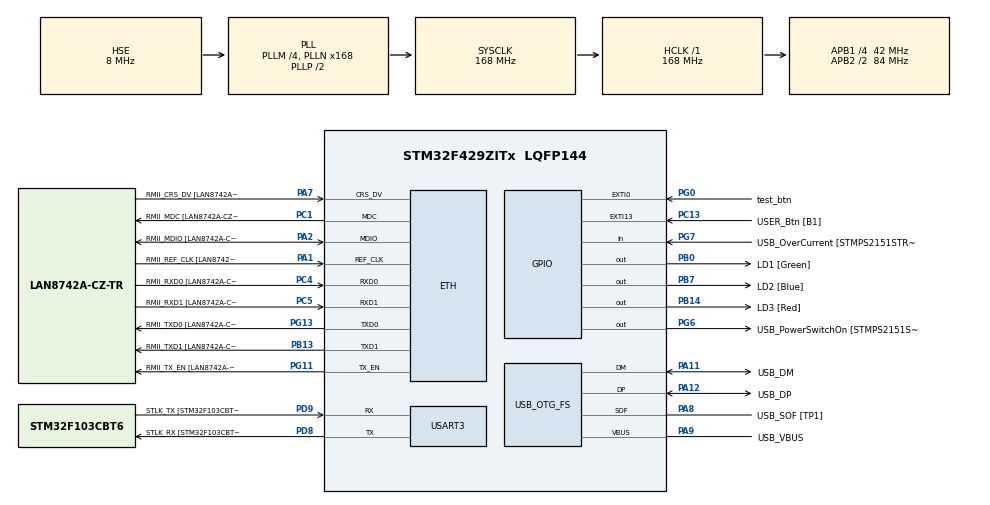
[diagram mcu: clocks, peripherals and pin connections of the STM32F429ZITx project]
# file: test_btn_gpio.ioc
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ETH.MediaInterface=HAL_ETH_RMII_MODE
ETH.PHY_Name=LAN8742A_PHY_ADDRESS
ETH.PHY_Value=0
ETH.PhyAddress=0
Mcu.Family=STM32F4
Mcu.Name=STM32F429ZITx
Mcu.Package=LQFP144
NVIC.EXTI0_IRQn=true\:0\:0\:false\:true\:true\:2\:true\:true\:true
NVIC.EXTI15_10_IRQn=true\:0\:0\:false\:true\:true\:1\:true\:true\:true
NVIC.PriorityGroup=NVIC_PRIORITYGROUP_4
PA1.GPIO_Label=RMII_REF_CLK [LAN8742A-CZ-TR_REFCLK0]
PA1.Mode=RMII
PA1.Signal=ETH_REF_CLK
PA10.GPIO_Label=USB_ID
PA10.Signal=USB_OTG_FS_ID
PA11.GPIO_Label=USB_DM
PA11.Mode=Device_Only
PA11.Signal=USB_OTG_FS_DM
PA12.GPIO_Label=USB_DP
PA12.Mode=Device_Only
PA12.Signal=USB_OTG_FS_DP
PA13.GPIO_Label=TMS
PA13.Mode=Serial_Wire
PA13.Signal=SYS_JTMS-SWDIO
PA14.GPIO_Label=TCK
PA14.Mode=Serial_Wire
PA14.Signal=SYS_JTCK-SWCLK
PA2.GPIO_Label=RMII_MDIO [LAN8742A-CZ-TR_MDIO]
PA2.Mode=RMII
PA2.Signal=ETH_MDIO
PA7.GPIO_Label=RMII_CRS_DV [LAN8742A-CZ-TR_CRS_DV]
PA7.Mode=RMII
PA7.Signal=ETH_CRS_DV
PA8.GPIO_Label=USB_SOF [TP1]
PA8.Mode=Activate_SOF_FS
PA8.Signal=USB_OTG_FS_SOF
PA9.GPIO_Label=USB_VBUS
PA9.Mode=Activate_VBUS
PA9.Signal=USB_OTG_FS_VBUS
PB0.GPIO_Label=LD1 [Green]
PB0.Signal=GPIO_Output
PB13.GPIO_Label=RMII_TXD1 [LAN8742A-CZ-TR_TXD1]
PB13.Mode=RMII
PB13.Signal=ETH_TXD1
PB14.GPIO_Label=LD3 [Red]
PB14.Signal=GPIO_Output
PB7.GPIO_Label=LD2 [Blue]
PB7.Signal=GPIO_Output
PC1.GPIO_Label=RMII_MDC [LAN8742A-CZ-TR_MDC]
PC1.Mode=RMII
PC1.Signal=ETH_MDC
PC13.GPIO_Label=USER_Btn [B1]
PC13.GPIO_ModeDefaultEXTI=GPIO_MODE_IT_RISING_FALLING
PC13.GPIO_PuPd=GPIO_NOPULL
PC13.Signal=GPXTI13
PC14/OSC32_IN.Mode=LSE-External-Oscillator
PC14/OSC32_IN.Signal=RCC_OSC32_IN
PC15/OSC32_OUT.Mode=LSE-External-Oscillator
PC15/OSC32_OUT.Signal=RCC_OSC32_OUT
PC4.GPIO_Label=RMII_RXD0 [LAN8742A-CZ-TR_RXD0]
PC4.Mode=RMII
PC4.Signal=ETH_RXD0
PC5.GPIO_Label=RMII_RXD1 [LAN8742A-CZ-TR_RXD1]
PC5.Mode=RMII
PC5.Signal=ETH_RXD1
PD8.GPIO_Label=STLK_RX [STM32F103CBT6_PA3]
PD8.Mode=Asynchronous
PD8.Signal=USART3_TX
PD9.GPIO_Label=STLK_TX [STM32F103CBT6_PA2]
PD9.Mode=Asynchronous
PD9.Signal=USART3_RX
PG0.GPIO_Label=test_btn
PG0.GPIO_ModeDefaultEXTI=GPIO_MODE_IT_RISING_FALLING
PG0.GPIO_PuPd=GPIO_PULLUP
PG0.Signal=GPXTI0
PG11.GPIO_Label=RMII_TX_EN [LAN8742A-CZ-TR_TXEN]
PG11.Mode=RMII
PG11.Signal=ETH_TX_EN
PG13.GPIO_Label=RMII_TXD0 [LAN8742A-CZ-TR_TXD0]
PG13.Mode=RMII
PG13.Signal=ETH_TXD0
PG6.GPIO_Label=USB_PowerSwitchOn [STMPS2151STR_EN]
PG6.Signal=GPIO_Output
PG7.GPIO_Label=USB_OverCurrent [STMPS2151STR_FAULT]
PG7.Signal=GPIO_Input
PH0/OSC_IN.GPIO_Label=MCO [STM32F103CBT6_PA8]
PH0/OSC_IN.Mode=HSE-External-Clock-Source
PH0/OSC_IN.Signal=RCC_OSC_IN
PH1/OSC_OUT.Mode=HSE-External-Clock-Source
PH1/OSC_OUT.Signal=RCC_OSC_OUT
ProjectManager.HeapSize=0x200
ProjectManager.StackSize=0x400
ProjectManager.TargetToolchain=STM32CubeIDE
RCC.48MHZClocksFreq_Value=48000000
RCC.AHBFreq_Value=168000000
RCC.APB1CLKDivider=RCC_HCLK_DIV4
RCC.APB1Freq_Value=42000000
RCC.APB1TimFreq_Value=84000000
RCC.APB2CLKDivider=RCC_HCLK_DIV2
RCC.APB2Freq_Value=84000000
RCC.APB2TimCLKDivider=2
RCC.APB2TimFreq_Value=168000000
RCC.CortexFreq_Value=168000000
RCC.HCLKFreq_Value=168000000
RCC.HSE_VALUE=8000000
RCC.HSI_VALUE=16000000
RCC.PLLM=4
RCC.PLLMUL=RCC_PLL_MUL9
RCC.PLLN=168
RCC.PLLQ=7
RCC.PRESCALERUSB=RCC_USBCLKSOURCE_PLL_DIV1_5
RCC.SYSCLKFreq_VALUE=168000000
RCC.SYSCLKSource=RCC_SYSCLKSOURCE_PLLCLK
RCC.SYSCLKSourceVirtual=RCC_SYSCLKSOURCE_PLLCLK
RCC.USBFreq_Value=48000000
RCC.VCOOutputFreq_Value=336000000
USART3.VirtualMode=VM_ASYNC
USB_OTG_FS.VirtualMode=Device_Only
board=NUCLEO-F429ZI

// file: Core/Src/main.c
/* USER CODE BEGIN Header */
/**
 ******************************************************************************
 * @file           : main.c
 * @brief          : Main program body
 ******************************************************************************
 * @attention
 *
 * Copyright (c) 2023 STMicroelectronics.
 * All rights reserved.
 *
 * This software is licensed under terms that can be found in the LICENSE file
 * in the root directory of this software component.
 * If no LICENSE file comes with this software, it is provided AS-IS.
 *
 ******************************************************************************
 */
/* USER CODE END Header */
#include "main.h"
#include "string.h"

/* USER CODE BEGIN Includes */
#include "stdio.h"
/* USER CODE END Includes */

ETH_TxPacketConfig TxConfig;
ETH_DMADescTypeDef DMARxDscrTab[ETH_RX_DESC_CNT]; /* Ethernet Rx DMA Descriptors */
ETH_DMADescTypeDef DMATxDscrTab[ETH_TX_DESC_CNT]; /* Ethernet Tx DMA Descriptors */

ETH_HandleTypeDef heth;

UART_HandleTypeDef huart3;

PCD_HandleTypeDef hpcd_USB_OTG_FS;

void SystemClock_Config(void);
static void MX_GPIO_Init(void);
static void MX_ETH_Init(void);
static void MX_USART3_UART_Init(void);
static void MX_USB_OTG_FS_PCD_Init(void);
static void MX_NVIC_Init(void);
/* USER CODE BEGIN PFP */
int _write(int file, char *ptr, int len) {
	HAL_UART_Transmit(&huart3, (uint8_t*) ptr, len, 500);
	return len;
}
/* USER CODE END PFP */

/* USER CODE BEGIN 0 */
unsigned char buf[30];
uint32_t ctime, ltime, interval, readpin; // uint32_t vs usigned int
int button_cnt;

void HAL_GPIO_EXTI_Callback(uint16_t GPIO_pin) {
	if (GPIO_pin == GPIO_PIN_0) {
		HAL_GPIO_TogglePin(GPIOB, LD1_Pin);
		ctime = HAL_GetTick(); // current time
		interval = ctime - ltime;
		ltime = ctime;

		if (HAL_GPIO_ReadPin(GPIOG, GPIO_PIN_0) == 1) {
//			printf("Pullup State rising\r\n");
			if (interval <= 110) {
				button_cnt++;
			} else if(interval >= 120 && interval < 200) {
				//				printf("falling\r\n");
				printf("One click! interval = %u\r\n", (unsigned int)interval);
//				printf("uint32_t size: %d\r\n", sizeof(uint32_t));
//				printf("unsigned int size: %d\r\n", sizeof(unsigned int));
				button_cnt = 0;
			} else if (interval >= 500) {
				//				printf("falling\r\n");
				printf("Long click! interval %u\r\n", (unsigned int)interval);
				button_cnt = 0;
			}
			if (button_cnt >= 3) {
				printf("Double click!! interval %u\r\n", (unsigned int)interval);
				button_cnt = 0;
			}
		}

//		readpin = HAL_GPIO_ReadPin(GPIOC, GPIO_PIN_13);
//		memset(buf,0,sizeof(buf));
//		sprintf(buf,"ctime=%d\r\n", ctime);
//		HAL_UART_Transmit_IT(&huart3,buf,sizeof(buf));
//		printf("ctime = %d  interval = %d  ltime = %d readpin = %d \r\n", ctime, interval, ltime, readpin);
	}
}
/* USER CODE END 0 */

int main(void) {

	/* MCU Configuration--------------------------------------------------------*/

	/* Reset of all peripherals, Initializes the Flash interface and the Systick. */
	HAL_Init();

	/* Configure the system clock */
	SystemClock_Config();

	/* Initialize all configured peripherals */
	MX_GPIO_Init();
	MX_ETH_Init();
	MX_USART3_UART_Init();
	MX_USB_OTG_FS_PCD_Init();

	/* Initialize interrupts */
	MX_NVIC_Init();

	/* Infinite loop */
	/* USER CODE BEGIN WHILE */
	while (1) {

//	  readpin = HAL_GPIO_ReadPin(GPIOB, GPIO_PIN_13);
//	  printf("readpin = %d\r\n", readpin);
		/* USER CODE END WHILE */

	}
}

void SystemClock_Config(void) {
	RCC_OscInitTypeDef RCC_OscInitStruct = { 0 };
	RCC_ClkInitTypeDef RCC_ClkInitStruct = { 0 };

	/** Configure the main internal regulator output voltage
	 */
	__HAL_RCC_PWR_CLK_ENABLE();
	__HAL_PWR_VOLTAGESCALING_CONFIG(PWR_REGULATOR_VOLTAGE_SCALE1);

	/** Initializes the RCC Oscillators according to the specified parameters
	 * in the RCC_OscInitTypeDef structure.
	 */
	RCC_OscInitStruct.OscillatorType = RCC_OSCILLATORTYPE_HSE;
	RCC_OscInitStruct.HSEState = RCC_HSE_BYPASS;
	RCC_OscInitStruct.PLL.PLLState = RCC_PLL_ON;
	RCC_OscInitStruct.PLL.PLLSource = RCC_PLLSOURCE_HSE;
	RCC_OscInitStruct.PLL.PLLM = 4;
	RCC_OscInitStruct.PLL.PLLN = 168;
	RCC_OscInitStruct.PLL.PLLP = RCC_PLLP_DIV2;
	RCC_OscInitStruct.PLL.PLLQ = 7;
	if (HAL_RCC_OscConfig(&RCC_OscInitStruct) != HAL_OK) {
		Error_Handler();
	}

	/** Initializes the CPU, AHB and APB buses clocks
	 */
	RCC_ClkInitStruct.ClockType = RCC_CLOCKTYPE_HCLK | RCC_CLOCKTYPE_SYSCLK
			| RCC_CLOCKTYPE_PCLK1 | RCC_CLOCKTYPE_PCLK2;
	RCC_ClkInitStruct.SYSCLKSource = RCC_SYSCLKSOURCE_PLLCLK;
	RCC_ClkInitStruct.AHBCLKDivider = RCC_SYSCLK_DIV1;
	RCC_ClkInitStruct.APB1CLKDivider = RCC_HCLK_DIV4;
	RCC_ClkInitStruct.APB2CLKDivider = RCC_HCLK_DIV2;

	if (HAL_RCC_ClockConfig(&RCC_ClkInitStruct, FLASH_LATENCY_5) != HAL_OK) {
		Error_Handler();
	}
}

/**
 * @brief NVIC Configuration.
 * @retval None
 */
static void MX_NVIC_Init(void) {
	/* EXTI15_10_IRQn interrupt configuration */
	HAL_NVIC_SetPriority(EXTI15_10_IRQn, 0, 0);
	HAL_NVIC_EnableIRQ(EXTI15_10_IRQn);
	/* EXTI0_IRQn interrupt configuration */
	HAL_NVIC_SetPriority(EXTI0_IRQn, 0, 0);
	HAL_NVIC_EnableIRQ(EXTI0_IRQn);
}

static void MX_ETH_Init(void) {

	static uint8_t MACAddr[6];

	heth.Instance = ETH;
	MACAddr[0] = 0x00;
	MACAddr[1] = 0x80;
	MACAddr[2] = 0xE1;
	MACAddr[3] = 0x00;
	MACAddr[4] = 0x00;
	MACAddr[5] = 0x00;
	heth.Init.MACAddr = &MACAddr[0];
	heth.Init.MediaInterface = HAL_ETH_RMII_MODE;
	heth.Init.TxDesc = DMATxDscrTab;
	heth.Init.RxDesc = DMARxDscrTab;
	heth.Init.RxBuffLen = 1524;

	if (HAL_ETH_Init(&heth) != HAL_OK) {
		Error_Handler();
	}

	memset(&TxConfig, 0, sizeof(ETH_TxPacketConfig));
	TxConfig.Attributes = ETH_TX_PACKETS_FEATURES_CSUM
			| ETH_TX_PACKETS_FEATURES_CRCPAD;
	TxConfig.ChecksumCtrl = ETH_CHECKSUM_IPHDR_PAYLOAD_INSERT_PHDR_CALC;
	TxConfig.CRCPadCtrl = ETH_CRC_PAD_INSERT;

}

static void MX_USART3_UART_Init(void) {

	huart3.Instance = USART3;
	huart3.Init.BaudRate = 115200;
	huart3.Init.WordLength = UART_WORDLENGTH_8B;
	huart3.Init.StopBits = UART_STOPBITS_1;
	huart3.Init.Parity = UART_PARITY_NONE;
	huart3.Init.Mode = UART_MODE_TX_RX;
	huart3.Init.HwFlowCtl = UART_HWCONTROL_NONE;
	huart3.Init.OverSampling = UART_OVERSAMPLING_16;
	if (HAL_UART_Init(&huart3) != HAL_OK) {
		Error_Handler();
	}

}

static void MX_USB_OTG_FS_PCD_Init(void) {

	hpcd_USB_OTG_FS.Instance = USB_OTG_FS;
	hpcd_USB_OTG_FS.Init.dev_endpoints = 4;
	hpcd_USB_OTG_FS.Init.speed = PCD_SPEED_FULL;
	hpcd_USB_OTG_FS.Init.dma_enable = DISABLE;
	hpcd_USB_OTG_FS.Init.phy_itface = PCD_PHY_EMBEDDED;
	hpcd_USB_OTG_FS.Init.Sof_enable = ENABLE;
	hpcd_USB_OTG_FS.Init.low_power_enable = DISABLE;
	hpcd_USB_OTG_FS.Init.lpm_enable = DISABLE;
	hpcd_USB_OTG_FS.Init.vbus_sensing_enable = ENABLE;
	hpcd_USB_OTG_FS.Init.use_dedicated_ep1 = DISABLE;
	if (HAL_PCD_Init(&hpcd_USB_OTG_FS) != HAL_OK) {
		Error_Handler();
	}

}

static void MX_GPIO_Init(void) {
	GPIO_InitTypeDef GPIO_InitStruct = { 0 };

	/* GPIO Ports Clock Enable */
	__HAL_RCC_GPIOC_CLK_ENABLE();
	__HAL_RCC_GPIOH_CLK_ENABLE();
	__HAL_RCC_GPIOA_CLK_ENABLE();
	__HAL_RCC_GPIOB_CLK_ENABLE();
	__HAL_RCC_GPIOG_CLK_ENABLE();
	__HAL_RCC_GPIOD_CLK_ENABLE();

	/*Configure GPIO pin Output Level */
	HAL_GPIO_WritePin(GPIOB, LD1_Pin | LD3_Pin | LD2_Pin, GPIO_PIN_RESET);

	/*Configure GPIO pin Output Level */
	HAL_GPIO_WritePin(USB_PowerSwitchOn_GPIO_Port, USB_PowerSwitchOn_Pin,
			GPIO_PIN_RESET);

	/*Configure GPIO pin : USER_Btn_Pin */
	GPIO_InitStruct.Pin = USER_Btn_Pin;
	GPIO_InitStruct.Mode = GPIO_MODE_IT_RISING_FALLING;
	GPIO_InitStruct.Pull = GPIO_NOPULL;
	HAL_GPIO_Init(USER_Btn_GPIO_Port, &GPIO_InitStruct);

	/*Configure GPIO pins : LD1_Pin LD3_Pin LD2_Pin */
	GPIO_InitStruct.Pin = LD1_Pin | LD3_Pin | LD2_Pin;
	GPIO_InitStruct.Mode = GPIO_MODE_OUTPUT_PP;
	GPIO_InitStruct.Pull = GPIO_NOPULL;
	GPIO_InitStruct.Speed = GPIO_SPEED_FREQ_LOW;
	HAL_GPIO_Init(GPIOB, &GPIO_InitStruct);

	/*Configure GPIO pin : test_btn_Pin */
	GPIO_InitStruct.Pin = test_btn_Pin;
	GPIO_InitStruct.Mode = GPIO_MODE_IT_RISING_FALLING;
	GPIO_InitStruct.Pull = GPIO_PULLUP;
	HAL_GPIO_Init(test_btn_GPIO_Port, &GPIO_InitStruct);

	/*Configure GPIO pin : USB_PowerSwitchOn_Pin */
	GPIO_InitStruct.Pin = USB_PowerSwitchOn_Pin;
	GPIO_InitStruct.Mode = GPIO_MODE_OUTPUT_PP;
	GPIO_InitStruct.Pull = GPIO_NOPULL;
	GPIO_InitStruct.Speed = GPIO_SPEED_FREQ_LOW;
	HAL_GPIO_Init(USB_PowerSwitchOn_GPIO_Port, &GPIO_InitStruct);

	/*Configure GPIO pin : USB_OverCurrent_Pin */
	GPIO_InitStruct.Pin = USB_OverCurrent_Pin;
	GPIO_InitStruct.Mode = GPIO_MODE_INPUT;
	GPIO_InitStruct.Pull = GPIO_NOPULL;
	HAL_GPIO_Init(USB_OverCurrent_GPIO_Port, &GPIO_InitStruct);

}

void Error_Handler(void) {
	__disable_irq();
	while (1) {
	}
}
